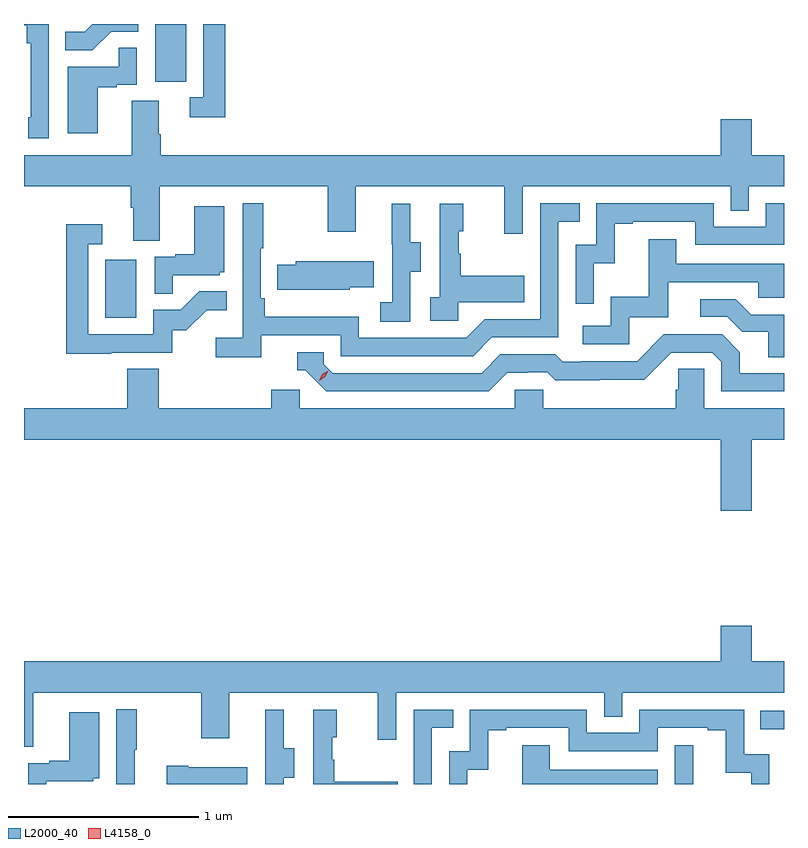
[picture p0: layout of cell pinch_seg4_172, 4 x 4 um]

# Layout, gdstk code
import gdstk
lib = gdstk.Library(unit=1e-6, precision=1e-09)
def R(c, l, rs):  # rectangles x0, y0, x1, y1
    for r in rs: c.add(gdstk.rectangle(r[:2], r[2:], *l))
def P(c, l, *ps):  # polygons
    for p in ps: c.add(gdstk.Polygon(p, *l))
L2000_40 = (2000, 40)
L4158_0 = (4158, 0)

pinch_seg4_172 = lib.new_cell('pinch_seg4_172')
R(pinch_seg4_172, L2000_40, [(1111.818,789.679,1111.915,789.883), (1112.269,789.968,1112.393,790.065), (1108.82,792.132,1108.984,792.439), (1109.084,793.374,1109.248,793.679)])
P(pinch_seg4_172, L2000_40, [(1109.453,793.679),(1109.337,793.679),(1109.337,793.293),(1109.265,793.293),(1109.265,793.188),(1109.453,793.188)],
  [(1108.851,793.638),(1108.995,793.638),(1108.995,793.679),(1108.753,793.679),(1108.713,793.639),(1108.609,793.639),(1108.609,793.54),(1108.753,793.54)],
  [(1108.524,793.679),(1108.393,793.679),(1108.393,793.673),(1108.408,793.673),(1108.408,793.577),(1108.428,793.577),(1108.428,793.189),(1108.416,793.189),(1108.416,793.077),(1108.524,793.077)],
  [(1108.78,793.347),(1108.88,793.347),(1108.88,793.359),(1108.986,793.359),(1108.986,793.553),(1108.891,793.553),(1108.891,793.455),(1108.622,793.455),(1108.622,793.104),(1108.78,793.104)],
  [(1109.114,793.1),(1109.101,793.1),(1109.101,793.274),(1108.961,793.274),(1108.961,792.988),(1108.393,792.988),(1108.393,792.824),(1108.955,792.824),(1108.955,792.712),(1108.967,792.712),(1108.967,792.538),(1109.107,792.538),(1109.107,792.824),(1109.992,792.824),(1109.992,792.585),(1110.139,792.585),(1110.139,792.824),(1110.92,792.824),(1110.92,792.576),(1111.017,792.576),(1111.017,792.824),(1112.112,792.824),(1112.112,792.697),(1112.208,792.697),(1112.208,792.824),(1112.393,792.824),(1112.393,792.988),(1112.224,792.988),(1112.224,793.177),(1112.06,793.177),(1112.06,792.988),(1109.114,792.988)],
  [(1109.642,792.042),(1110.06,792.042),(1110.06,791.931),(1110.757,791.931),(1110.856,792.03),(1111.206,792.03),(1111.206,792.639),(1111.319,792.639),(1111.319,792.735),(1111.11,792.735),(1111.11,792.126),(1110.819,792.126),(1110.72,792.027),(1110.156,792.027),(1110.156,792.139),(1109.659,792.139),(1109.659,792.235),(1109.64,792.235),(1109.64,792.499),(1109.653,792.499),(1109.653,792.736),(1109.544,792.736),(1109.544,792.028),(1109.403,792.028),(1109.403,791.926),(1109.642,791.926)],
  [(1111.392,792.419),(1111.502,792.419),(1111.502,792.627),(1111.597,792.627),(1111.597,792.639),(1111.926,792.639),(1111.926,792.516),(1112.393,792.516),(1112.393,792.735),(1112.298,792.735),(1112.298,792.612),(1112.022,792.612),(1112.022,792.735),(1111.404,792.735),(1111.404,792.516),(1111.296,792.516),(1111.296,792.207),(1111.392,792.207)],
  [(1110.426,792.376),(1110.481,792.376),(1110.481,792.531),(1110.427,792.531),(1110.427,792.733),(1110.329,792.733),(1110.329,792.519),(1110.33,792.519),(1110.33,792.215),(1110.267,792.215),(1110.267,792.112),(1110.426,792.112)],
  [(1110.678,792.215),(1111.025,792.215),(1111.025,792.355),(1110.691,792.355),(1110.691,792.47),(1110.681,792.47),(1110.681,792.588),(1110.706,792.588),(1110.706,792.733),(1110.582,792.733),(1110.582,792.242),(1110.531,792.242),(1110.531,792.117),(1110.678,792.117)],
  [(1109.177,792.357),(1109.424,792.357),(1109.424,792.372),(1109.446,792.372),(1109.446,792.721),(1109.288,792.721),(1109.288,792.466),(1109.189,792.466),(1109.189,792.453),(1109.082,792.453),(1109.082,792.259),(1109.177,792.259)],
  [(1108.853,791.949),(1109.172,791.949),(1109.172,792.066),(1109.248,792.066),(1109.355,792.173),(1109.459,792.173),(1109.459,792.272),(1109.315,792.272),(1109.217,792.174),(1109.073,792.174),(1109.073,792.045),(1108.731,792.045),(1108.731,792.519),(1108.804,792.519),(1108.804,792.625),(1108.615,792.625),(1108.615,791.944),(1108.853,791.944)],
  [(1111.578,792.135),(1111.783,792.135),(1111.783,792.321),(1112.257,792.321),(1112.257,792.237),(1112.393,792.237),(1112.393,792.417),(1111.825,792.417),(1111.825,792.547),(1111.681,792.547),(1111.681,792.244),(1111.482,792.244),(1111.482,792.09),(1111.335,792.09),(1111.335,791.994),(1111.578,791.994)],
  [(1110.108,792.293),(1110.233,792.293),(1110.233,792.43),(1109.823,792.43),(1109.823,792.411),(1109.725,792.411),(1109.725,792.281),(1110.108,792.281)],
  [(1112.393,792.15),(1112.221,792.15),(1112.14,792.231),(1111.953,792.231),(1111.953,792.138),(1112.094,792.138),(1112.174,792.058),(1112.309,792.058),(1112.309,791.926),(1112.393,791.926)],
  [(1110.937,791.844),(1111.044,791.844),(1111.044,791.847),(1111.147,791.847),(1111.189,791.805),(1111.422,791.805),(1111.422,791.807),(1111.658,791.807),(1111.8,791.949),(1112.016,791.949),(1112.064,791.901),(1112.064,791.745),(1112.393,791.745),(1112.393,791.841),(1112.161,791.841),(1112.161,791.951),(1112.067,792.045),(1111.761,792.045),(1111.62,791.904),(1111.327,791.904),(1111.327,791.901),(1111.228,791.901),(1111.189,791.94),(1110.9,791.94),(1110.801,791.841),(1110.018,791.841),(1109.97,791.889),(1109.97,791.952),(1109.831,791.952),(1109.831,791.856),(1109.874,791.856),(1109.985,791.745),(1110.838,791.745)],
  [(1112.06,791.118),(1112.224,791.118),(1112.224,791.492),(1112.393,791.492),(1112.393,791.656),(1111.974,791.656),(1111.974,791.864),(1111.837,791.864),(1111.837,791.754),(1111.823,791.754),(1111.823,791.656),(1111.125,791.656),(1111.125,791.754),(1110.975,791.754),(1110.975,791.656),(1109.844,791.656),(1109.844,791.754),(1109.693,791.754),(1109.693,791.656),(1109.102,791.656),(1109.102,791.864),(1108.937,791.864),(1108.937,791.656),(1108.393,791.656),(1108.393,791.492),(1112.06,791.492)],
  [(1108.441,790.16),(1109.326,790.16),(1109.326,789.921),(1109.473,789.921),(1109.473,790.16),(1110.254,790.16),(1110.254,789.912),(1110.351,789.912),(1110.351,790.16),(1111.446,790.16),(1111.446,790.033),(1111.542,790.033),(1111.542,790.16),(1112.393,790.16),(1112.393,790.324),(1112.224,790.324),(1112.224,790.513),(1112.06,790.513),(1112.06,790.324),(1108.393,790.324),(1108.393,789.874),(1108.441,789.874)],
  [(1108.975,789.859),(1108.987,789.859),(1108.987,790.072),(1108.878,790.072),(1108.878,789.679),(1108.975,789.679)],
  [(1110.726,789.755),(1110.836,789.755),(1110.836,789.963),(1110.931,789.963),(1110.931,789.975),(1111.26,789.975),(1111.26,789.852),(1111.728,789.852),(1111.728,789.975),(1111.991,789.975),(1111.991,789.963),(1112.087,789.963),(1112.087,789.737),(1112.22,789.737),(1112.22,789.679),(1112.316,789.679),(1112.316,789.835),(1112.184,789.835),(1112.184,790.071),(1111.632,790.071),(1111.632,789.948),(1111.356,789.948),(1111.356,790.071),(1110.738,790.071),(1110.738,789.852),(1110.63,789.852),(1110.63,789.679),(1110.726,789.679)],
  [(1110.54,789.975),(1110.653,789.975),(1110.653,790.071),(1110.444,790.071),(1110.444,789.679),(1110.54,789.679)],
  [(1110.359,789.691),(1110.025,789.691),(1110.025,789.806),(1110.015,789.806),(1110.015,789.924),(1110.04,789.924),(1110.04,790.069),(1109.916,790.069),(1109.916,789.679),(1110.359,789.679)],
  [(1109.76,789.712),(1109.815,789.712),(1109.815,789.867),(1109.761,789.867),(1109.761,790.069),(1109.663,790.069),(1109.663,789.855),(1109.664,789.855),(1109.664,789.679),(1109.76,789.679)],
  [(1108.511,789.693),(1108.758,789.693),(1108.758,789.708),(1108.789,789.708),(1108.789,790.057),(1108.631,790.057),(1108.631,789.802),(1108.527,789.802),(1108.527,789.789),(1108.416,789.789),(1108.416,789.679),(1108.511,789.679)],
  [(1111.728,789.753),(1111.159,789.753),(1111.159,789.883),(1111.015,789.883),(1111.015,789.679),(1111.728,789.679)],
  [(1109.567,789.766),(1109.257,789.766),(1109.257,789.774),(1109.145,789.774),(1109.145,789.679),(1109.567,789.679)])
P(pinch_seg4_172, L4158_0, [(1109.947,791.802),(1109.947,791.803),(1109.964,791.835),(1109.994,791.854),(1109.994,791.854),(1109.994,791.854),(1109.978,791.822),(1109.948,791.802)])

lib.write_gds('pinch_seg4_172.gds')
